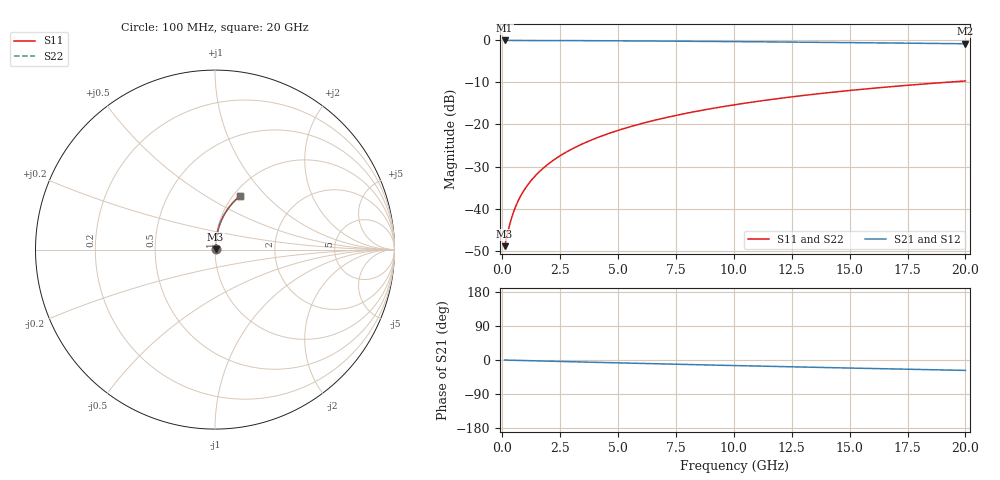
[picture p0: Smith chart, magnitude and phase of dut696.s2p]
! Touchstone file exported from HFSS 2024.1.0
!  File:  C:/UserFiles/LocalFiles/RDL_TSV_Batchsim/temp_RDL_top_696_1779783022.aedt
!  Generated:  04:12:47 PM May 26, 2026
!  Design:  RDL_top
!  Project:  temp_RDL_top_696_1779783022
!  Setup:  Setup1
!  Solution:  Sweep
! Variables:
!  dtsv = 10.80580581um
!  hbump = 3um
!  htsv = 56.44um
!  ldown = 100um
!  lrdl = 329.12um
!  p = 40
!  p1 = 46.45um
!  rhole = 1um
!  t = 450um
!  tdown = 3.915915916um
!  trdl = 2.86um
!  wdown = 15.38538539um
!  wrdl = 13.93um
# GHz S MA R 50.000000
! Terminal data exported
! Port[1] = Box2_T1
! Port[2] = Box2_T2
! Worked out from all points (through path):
!   200 points, 100 MHz to 20 GHz, reference 50 ohm
!   highest |S21| = -0.03 dB at 100 MHz (marker M1); lowest = -0.8 dB at 20 GHz (marker M2)
!   group delay of S21, straight-line fit = 3.8 ps
!   lowest |S11| = -48.9 dB at 100 MHz (marker M3), VSWR 1.01, Z = 50.3 + j0.178 ohm
!   |S11| at or under -10 dB: start of sweep to 19.11 GHz
!   |S22| runs from -48.9 to -9.7 dB; largest |S21 - S12| = 2.7e-15
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0.1  0.003571 29.7  0.9969 -0.2  0.9969 -0.2  0.003571 29.7
! Gamma 0 0 0 0
! Port Impedance 50 0 50 0
0.3  0.006175 58.6  0.9968 -0.5  0.9968 -0.5  0.006175 58.6
0.4  0.007732 64.8  0.9967 -0.6  0.9967 -0.6  0.007732 64.8
0.5  0.009334 68.7  0.9966 -0.8  0.9966 -0.8  0.009334 68.7
0.6  0.01095 71.5  0.9965 -0.9  0.9965 -0.9  0.01095 71.5
0.8  0.01422 75.1  0.9963 -1.2  0.9963 -1.2  0.01422 75.1
1.1  0.01914 78.2  0.996 -1.7  0.996 -1.7  0.01914 78.2
1.3  0.02244 79.5  0.9957 -2.0  0.9957 -2.0  0.02244 79.5
1.6  0.02742 80.8  0.9954 -2.5  0.9954 -2.5  0.02742 80.8
2.1  0.03576 82.1  0.9946 -3.2  0.9946 -3.2  0.03576 82.1
2.7  0.04584 82.7  0.9935 -4.1  0.9935 -4.1  0.04584 82.7
3.5  0.05937 83.0  0.9917 -5.3  0.9917 -5.3  0.05937 83.0
4.2  0.07129 82.8  0.9898 -6.4  0.9898 -6.4  0.07129 82.8
5  0.08499 82.4  0.9873 -7.6  0.9873 -7.6  0.08499 82.4
5.9  0.1005 81.8  0.9842 -8.9  0.9842 -8.9  0.1005 81.8
6.8  0.116 80.9  0.9807 -10.2  0.9807 -10.2  0.116 81.0
8.3  0.1418 79.4  0.9744 -12.3  0.9744 -12.3  0.1418 79.4
10.1  0.1726 77.3  0.9659 -14.8  0.9659 -14.8  0.1726 77.3
11.7  0.1996 75.4  0.9579 -16.9  0.9579 -16.9  0.1996 75.4
13.4  0.2276 73.3  0.9489 -19.2  0.9489 -19.2  0.2277 73.3
16.7  0.28 69.1  0.9304 -23.4  0.9304 -23.4  0.28 69.1
20  0.329 65.0  0.9106 -27.4  0.9106 -27.4  0.329 65.0
